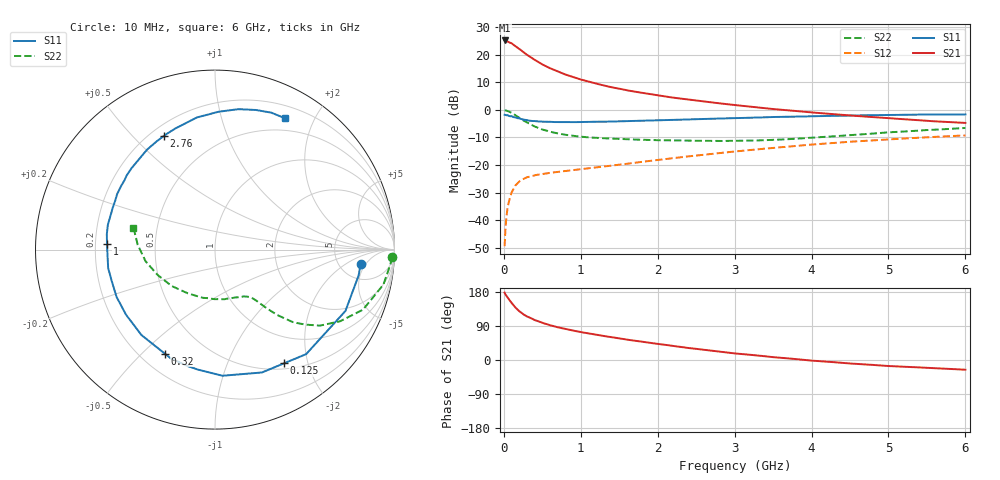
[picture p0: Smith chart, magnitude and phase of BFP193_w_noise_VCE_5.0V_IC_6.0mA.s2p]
! Infineon Technologies  Discrete & RF Semiconductors
! BFP193
! VCE = 5.0 V,  IC =  6.0 mA
! Common Emitter S-Parameters:  Jan 2016
# GHz  S  MA  R  50
!  f  S11  S21  S12  S22
! GHz  MAG  ANG  MAG  ANG  MAG  ANG  MAG  ANG
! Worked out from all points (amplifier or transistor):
!   210 points, 10 MHz to 6 GHz, reference 50 ohm
!   highest |S21| = 25.2 dB at 10 MHz (marker M1)
!   |S21| within 3 dB of that: start of sweep to 199.9 MHz
!   unconditionally stable (mu >= 1): 1.236 GHz to 3.49 GHz
!   at 185 MHz: K = 0.24, MSG = 24.4 dB, |S12| = -26.4 dB
!   at 1.52 GHz: K = 1.08, MAG = 11.9 dB, |S12| = -19.8 dB
!   at 6 GHz: K = 0.90, MSG = 2.3 dB, |S12| = -9.2 dB
!   lowest NFmin = 1.20 dB at 450 MHz
!   S11 on the Smith chart (normalised r, x): 10 MHz: 8.07, -3.77; 125 MHz: 0.58, -1.63; 320 MHz: 0.30, -0.59; 1 GHz: 0.25, +0.02; 2.76 GHz: 0.25, +0.62; 6 GHz: 0.34, +1.61
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0.01  0.8157 -5.5  18.11 177.7  0.0034 89.1  0.9845 -2.5
0.02  0.8131 -10.2  17.58 173.3  0.0066 82.4  0.9811 -4.7
0.05  0.8031 -25.2  17.32 164.4  0.0172 77.9  0.9585 -11.7
0.1  0.7728 -48.9  16.12 150.7  0.0317 66.6  0.8898 -22.1
0.125  0.7412 -58.7  15.12 144.9  0.0371 61.2  0.8446 -25.8
0.15  0.7329 -69.1  14.3 138.3  0.0427 57.2  0.8032 -29.8
0.2  0.7041 -86.6  12.81 128.9  0.0504 50.5  0.7223 -35.9
0.26  0.667 -103.0  10.98 119.8  0.0566 45.2  0.6364 -40.6
0.32  0.6437 -115.7  9.569 113.3  0.0611 41.9  0.5733 -43.6
0.4  0.6281 -130.8  8.08 105.5  0.0655 38.4  0.5011 -46.5
0.5  0.6143 -143.8  6.661 97.9  0.0688 36.6  0.4411 -48.4
0.6  0.6085 -154.4  5.69 91.8  0.0724 35.8  0.402 -49.7
0.8  0.604 -170.2  4.375 81.9  0.0784 35.7  0.3541 -51.6
1  0.6026 177.0  3.553 73.7  0.084 37.2  0.3272 -53.9
1.02  0.6035 176.0  3.492 73.0  0.0847 37.4  0.3254 -54.2
1.4  0.6154 158.3  2.569 60.1  0.0976 40.1  0.3023 -60.4
2.02  0.6495 135.8  1.817 42.0  0.1251 42.8  0.2822 -74.2
2.76  0.6944 114.2  1.337 23.2  0.1628 41.6  0.2735 -96.2
3.1  0.7146 106.0  1.185 15.7  0.1819 39.8  0.2769 -107.7
4.1  0.7721 86.9  0.877 -3.0  0.241 32.3  0.3202 -143.5
5.1  0.8127 72.5  0.693 -16.8  0.2977 21.7  0.3984 -173.3
6  0.8291 61.9  0.581 -25.6  0.3452 11.5  0.4707 164.9
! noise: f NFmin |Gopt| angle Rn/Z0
0.45  1.2  0.25  114  0.13
0.9  1.25  0.37  150  0.12
1.8  2  0.55  -158  0.12
